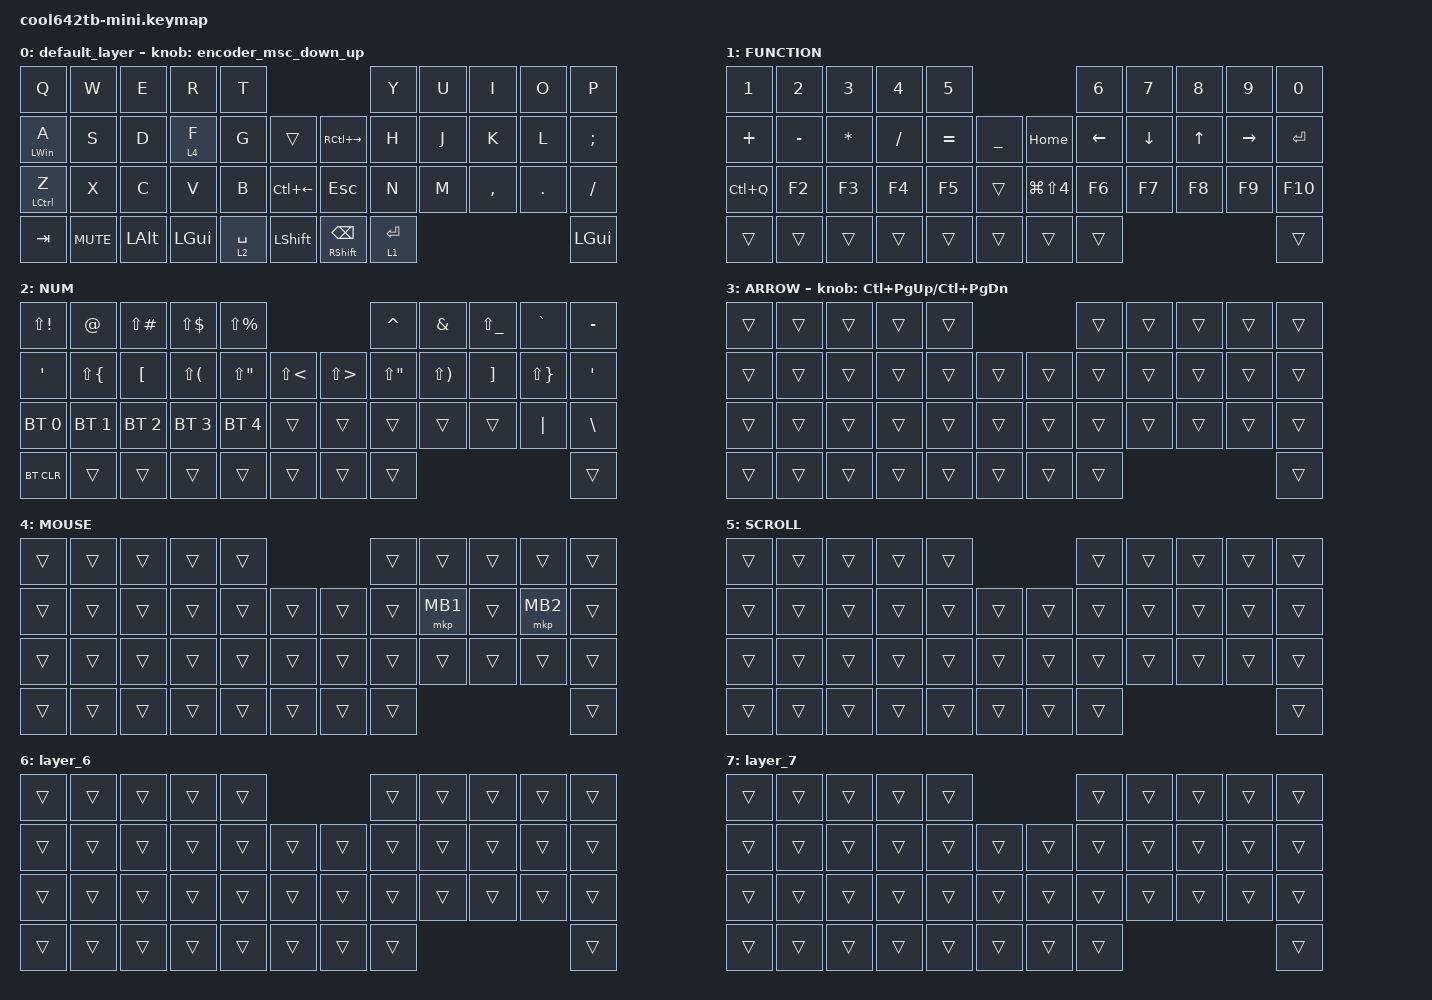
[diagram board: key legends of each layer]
#include <behaviors.dtsi>
#include <dt-bindings/zmk/bt.h>
#include <dt-bindings/zmk/keys.h>
#include <dt-bindings/zmk/pointing.h>

#define ZMK_POINTING_DEFAULT_SCRL_VAL 80

&mt {
    flavor = "balanced";
    quick-tap-ms = <200>;
};

/ {
    combos {
        compatible = "zmk,combos";

        shift_tab {
            bindings = <&kp LANG2>;
            key-positions = <11 12>;
        };

        lang {
            bindings = <&kp LANG1>;
            key-positions = <19 20>;
        };

        vim_esc {
            bindings = <&esc_lang2>;
            key-positions = <18 19>;
            timeout-ms = <250>;
            require-prior-idle-ms = <150>;
        };

        mission_control {
            bindings = <&kp LC(UP_ARROW)>;
            key-positions = <16 27>;
            timeout-ms = <200>;
        };
    };

    behaviors {
        encoder_msc_down_up: encoder_msc_down_up {
            compatible = "zmk,behavior-sensor-rotate";
            label = "ENCODER_MSC_DOWN_UP";
            #sensor-binding-cells = <0>;
            bindings = <&msc SCRL_UP>, <&msc SCRL_DOWN>;

            tap-ms = <20>;
        };
    };

    macros {
        esc_lang2: esc_lang2 {
            label = "ZM_esc_lang2";
            compatible = "zmk,behavior-macro";
            #binding-cells = <0>;
            bindings = <&kp ESC>, <&kp LANG2>;
        };
    };

    keymap {
        compatible = "zmk,keymap";

        default_layer {
            bindings = <
&kp Q               &kp W       &kp E         &kp R         &kp T                                                    &kp Y        &kp U  &kp I      &kp O    &kp P
&mt LEFT_WIN A      &kp S       &kp D         &lt 4 F       &kp G        &trans                 &kp RC(RIGHT)        &kp H        &kp J  &kp K      &kp L    &kp SEMICOLON
&mt LEFT_CONTROL Z  &kp X       &kp C         &kp V         &kp B        &kp LC(LEFT)           &kp ESC              &kp N        &kp M  &kp COMMA  &kp DOT  &kp SLASH
&kp TAB             &kp C_MUTE  &kp LEFT_ALT  &kp LEFT_GUI  &lt 2 SPACE  &kp LSHIFT            &mt RSHFT BACKSPACE  &lt 1 ENTER                             &kp LEFT_GUI
            >;

            sensor-bindings = <&encoder_msc_down_up>;
        };

        FUNCTION {
            bindings = <
&kp N1    &kp N2     &kp N3     &kp N4     &kp N5                              &kp N6     &kp N7    &kp N8    &kp N9        &kp N0
&kp PLUS  &kp MINUS  &kp ASTRK  &kp SLASH  &kp EQUAL  &kp UNDER      &kp HOME  &kp LEFT   &kp DOWN  &kp UP    &kp RIGHT     &kp ENTER
&kp LC(Q) &kp F2     &kp F3     &kp F4     &kp F5     &trans         &kp LG(LS(N4))  &kp F6     &kp F7    &kp F8    &kp F9        &kp F10
&trans    &trans     &trans     &trans     &trans     &trans         &trans    &trans                                       &trans
            >;
        };

        NUM {
            bindings = <
&kp LS(EXCL)  &kp AT        &kp LS(POUND)  &kp LS(DLLR)  &kp LS(PRCNT)                              &kp CARET    &kp AMPERSAND  &kp LS(UNDER)  &kp GRAVE     &kp MINUS
&kp SQT       &kp LS(LBRC)  &kp LBKT       &kp LS(LPAR)  &kp LS(DQT)    &kp LS(LT)      &kp LS(GT)  &kp LS(DQT)  &kp LS(RPAR)   &kp RBKT       &kp LS(RBRC)  &kp SQT
&bt BT_SEL 0  &bt BT_SEL 1  &bt BT_SEL 2   &bt BT_SEL 3  &bt BT_SEL 4   &trans          &trans      &trans       &trans         &trans         &kp PIPE      &kp BACKSLASH
&bt BT_CLR    &trans        &trans         &trans        &trans         &trans          &trans      &trans                                                   &trans
            >;
        };

        ARROW {
            bindings = <
&trans  &trans  &trans  &trans  &trans                      &trans  &trans  &trans  &trans  &trans
&trans  &trans  &trans  &trans  &trans  &trans      &trans  &trans  &trans  &trans  &trans  &trans
&trans  &trans  &trans  &trans  &trans  &trans      &trans  &trans  &trans  &trans  &trans  &trans
&trans  &trans  &trans  &trans  &trans  &trans      &trans  &trans                          &trans
            >;

            sensor-bindings = <&inc_dec_kp LC(PAGE_UP) LC(PAGE_DOWN)>;
        };

        MOUSE {
            bindings = <
&trans  &trans  &trans  &trans  &trans                      &trans  &trans    &trans  &trans    &trans
&trans  &trans  &trans  &trans  &trans  &trans      &trans  &trans  &mkp MB1  &trans  &mkp MB2  &trans
&trans  &trans  &trans  &trans  &trans  &trans      &trans  &trans  &trans    &trans  &trans    &trans
&trans  &trans  &trans  &trans  &trans  &trans      &trans  &trans                              &trans
            >;
        };

        SCROLL {
            bindings = <
&trans  &trans  &trans  &trans  &trans                      &trans  &trans  &trans  &trans  &trans
&trans  &trans  &trans  &trans  &trans  &trans      &trans  &trans  &trans  &trans  &trans  &trans
&trans  &trans  &trans  &trans  &trans  &trans      &trans  &trans  &trans  &trans  &trans  &trans
&trans  &trans  &trans  &trans  &trans  &trans      &trans  &trans                          &trans
            >;
        };

        layer_6 {
            bindings = <
&trans  &trans  &trans  &trans  &trans                      &trans  &trans  &trans  &trans  &trans
&trans  &trans  &trans  &trans  &trans  &trans      &trans  &trans  &trans  &trans  &trans  &trans
&trans  &trans  &trans  &trans  &trans  &trans      &trans  &trans  &trans  &trans  &trans  &trans
&trans  &trans  &trans  &trans  &trans  &trans      &trans  &trans                          &trans
            >;
        };

        layer_7 {
            bindings = <
&trans  &trans  &trans  &trans  &trans                      &trans  &trans  &trans  &trans  &trans
&trans  &trans  &trans  &trans  &trans  &trans      &trans  &trans  &trans  &trans  &trans  &trans
&trans  &trans  &trans  &trans  &trans  &trans      &trans  &trans  &trans  &trans  &trans  &trans
&trans  &trans  &trans  &trans  &trans  &trans      &trans  &trans                          &trans
            >;
        };
    };
};
